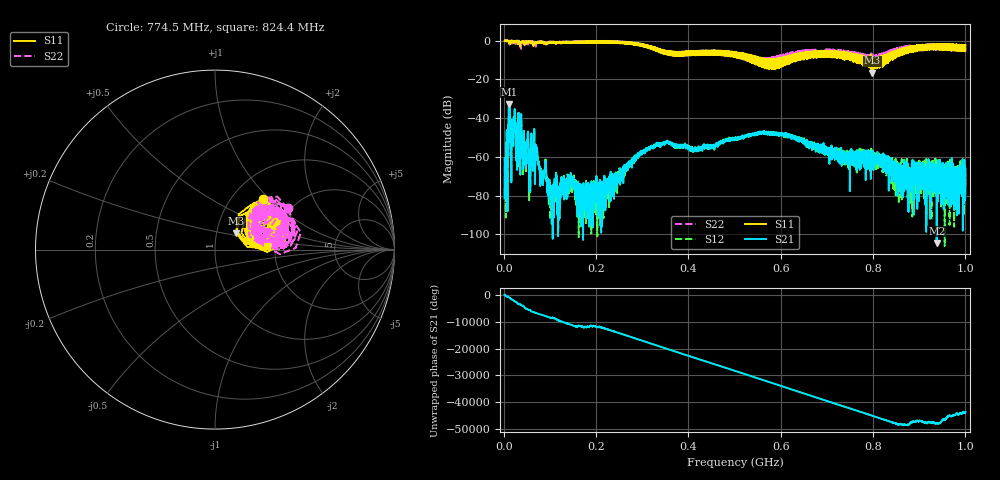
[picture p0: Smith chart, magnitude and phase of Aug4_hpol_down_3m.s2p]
!Keysight Technologies N9923A: A.12.45
!Date: Tuesday, 05 August 2025 17:57:17
!Timezone: (UTC+08:00) Kuala Lumpur, Singapore
!Model: N9923A
!Serial: MY61181427
!GPS Latitude:
!GPS Longitude:
!GPS TimeStamp: 0001-01-01 00:00:00Z
!GPS Seconds Since Last Read: 0
!CHECKSUM:0674422165
!Correction: S11(ON U)S21(ON U)S12(ON U)S22(ON U)
!S2P File: Measurements:S11,S21,S12,S22:
# Hz S DB R 50
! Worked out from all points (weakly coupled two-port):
!   4001 points, 2 MHz to 1 GHz, reference 50 ohm
!   highest |S21| = -32.77 dB at 11.23 MHz (marker M1); lowest = -104.5 dB at 937.9 MHz (marker M2)
!   lowest |S11| = -16.5 dB at 798.7 MHz (marker M3), VSWR 1.35, Z = 62.2 + j11.6 ohm
!   |S11| at or under -10 dB: 558.8353 MHz to 559.939 MHz (1.104 MHz wide, 0.197 % of centre); 563.8636 MHz to 565.0639 MHz (1.2 MHz wide, 0.213 % of centre); 584.0573 MHz to 585.4282 MHz (1.371 MHz wide, 0.234 % of centre)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
!   |S22| runs from -13.8 to 0.1 dB; largest |S21 - S12| = 0.0013
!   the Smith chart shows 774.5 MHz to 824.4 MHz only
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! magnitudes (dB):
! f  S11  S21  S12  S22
! 2 MHz  -0.1  -81.5  -79.3  -0.1
! 11.23 MHz  -1.3  -32.8  -32.8  -0.2
! 22.21 MHz  -1.2  -39.8  -39.7  -0.3
! 31.19 MHz  -0.9  -38.0  -38.0  -0.8
! 48.41 MHz  -0.3  -52.5  -52.4  -1.8
! 58.64 MHz  -1.1  -54.3  -54.5  -0.3
! 69.61 MHz  -1.4  -54.2  -54.3  -3.2
! 81.09 MHz  -1.0  -68.6  -67.6  -1.1
! 91.32 MHz  -2.1  -63.7  -63.6  -1.4
! 102.5 MHz  -0.8  -76.0  -75.1  -0.7
! 147.2 MHz  -0.8  -72.8  -73.5  -0.7
! 168.4 MHz  -1.1  -81.1  -87.1  -0.9
! 212.6 MHz  -0.7  -75.7  -79.6  -0.6
! 334.8 MHz  -4.7  -52.9  -53.1  -5.4
! 501 MHz  -6.5  -50.1  -50.6  -7.5
! 583.1 MHz  -14.5  -48.2  -47.8  -11.2
! 667.4 MHz  -8.4  -53.1  -52.8  -7.3
! 798.7 MHz  -16.5  -65.6  -64.1  -9.1
! 833.8 MHz  -8.5  -62.7  -67.2  -5.5
! 880.7 MHz  -3.4  -71.1  -68.8  -2.8
! 937.9 MHz  -2.0  -104.5  -75.2  -2.8
! 1 GHz  -2.3  -66.2  -68.5  -4.0
